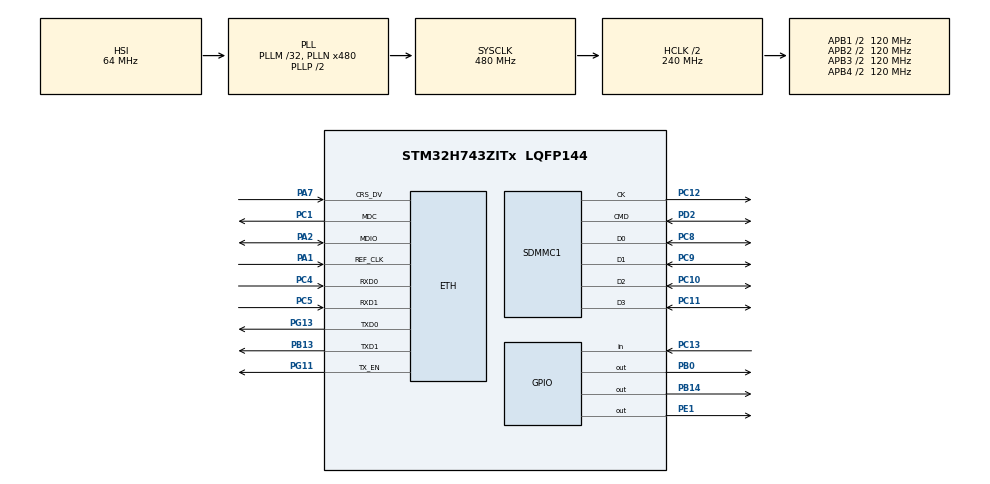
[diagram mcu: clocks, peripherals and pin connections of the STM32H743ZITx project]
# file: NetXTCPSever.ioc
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CORTEX_M7.AccessPermission_S-Cortex_Memory_Protection_Unit_Region1_Settings_S=MPU_REGION_FULL_ACCESS
CORTEX_M7.AccessPermission_S-Cortex_Memory_Protection_Unit_Region2_Settings_S=MPU_REGION_FULL_ACCESS
CORTEX_M7.BaseAddress_S-Cortex_Memory_Protection_Unit_Region1_Settings_S=0x24030000
CORTEX_M7.BaseAddress_S-Cortex_Memory_Protection_Unit_Region2_Settings_S=0x24030000
CORTEX_M7.CPU_DCache=Enabled
CORTEX_M7.CPU_ICache=Enabled
CORTEX_M7.Enable_S-Cortex_Memory_Protection_Unit_Region1_Settings_S=MPU_REGION_ENABLE
CORTEX_M7.Enable_S-Cortex_Memory_Protection_Unit_Region2_Settings_S=MPU_REGION_ENABLE
CORTEX_M7.IsBufferable_S-Cortex_Memory_Protection_Unit_Region2_Settings_S=MPU_ACCESS_BUFFERABLE
CORTEX_M7.IsCacheable_S-Cortex_Memory_Protection_Unit_Region1_Settings_S=MPU_ACCESS_CACHEABLE
CORTEX_M7.Size_S-Cortex_Memory_Protection_Unit_Region1_Settings_S=MPU_REGION_SIZE_128KB
CORTEX_M7.Size_S-Cortex_Memory_Protection_Unit_Region2_Settings_S=MPU_REGION_SIZE_256B
CORTEX_M7.default_mode_Activation=1
ETH.MediaInterface=HAL_ETH_RMII_MODE
ETH.RxBufferAddress=0x24030100
ETH.RxDescAddress=0x24030000
ETH.TxDescAddress=0x24030060
Mcu.Family=STM32H7
Mcu.Name=STM32H743ZITx
Mcu.Package=LQFP144
NUCLEO-H743ZI2.BUTTON=1
NUCLEO-H743ZI2.Bsp_Common_DEMO=true
NUCLEO-H743ZI2.LD1=true
NUCLEO-H743ZI2.LD2=true
NUCLEO-H743ZI2.LD3=true
NUCLEO-H743ZI2.VCP=true
NVIC.ETH_IRQn=true\:0\:0\:false\:false\:true\:false\:true\:true\:true
NVIC.ETH_WKUP_IRQn=true\:0\:0\:false\:false\:true\:false\:true\:true\:true
NVIC.EXTI15_10_IRQn=true\:0\:0\:false\:false\:true\:false\:false\:false\:true
NVIC.PriorityGroup=NVIC_PRIORITYGROUP_4
NVIC.SDMMC1_IRQn=true\:0\:0\:false\:false\:true\:false\:false\:true\:true
NVIC.TIM7_IRQn=true\:15\:0\:false\:false\:true\:false\:false\:true\:true
NVIC.TimeBase=TIM7_IRQn
NVIC.TimeBaseIP=TIM7
PA1.GPIO_Speed=GPIO_SPEED_FREQ_VERY_HIGH
PA1.Mode=RMII
PA1.Signal=ETH_REF_CLK
PA13\ (JTMS/SWDIO).GPIO_Label=JTMS
PA13\ (JTMS/SWDIO).Signal=DEBUG_JTMS-SWDIO
PA14\ (JTCK/SWCLK).GPIO_Label=JTCK
PA14\ (JTCK/SWCLK).Signal=DEBUG_JTCK-SWCLK
PA2.GPIO_Speed=GPIO_SPEED_FREQ_VERY_HIGH
PA2.Mode=RMII
PA2.Signal=ETH_MDIO
PA7.GPIO_Speed=GPIO_SPEED_FREQ_VERY_HIGH
PA7.Mode=RMII
PA7.Signal=ETH_CRS_DV
PB0.Signal=GPIO_Output
PB13.GPIO_Speed=GPIO_SPEED_FREQ_VERY_HIGH
PB13.Mode=RMII
PB13.Signal=ETH_TXD1
PB14.Signal=GPIO_Output
PC1.GPIO_Speed=GPIO_SPEED_FREQ_VERY_HIGH
PC1.Mode=RMII
PC1.Signal=ETH_MDC
PC10.Mode=SD_4_bits_Wide_bus
PC10.Signal=SDMMC1_D2
PC11.Mode=SD_4_bits_Wide_bus
PC11.Signal=SDMMC1_D3
PC12.Mode=SD_4_bits_Wide_bus
PC12.Signal=SDMMC1_CK
PC13.Signal=GPIO_Input
PC14-OSC32_IN\ (OSC32_IN).Signal=RCC_OSC32_IN
PC15-OSC32_OUT\ (OSC32_OUT).Signal=RCC_OSC32_OUT
PC4.GPIO_Speed=GPIO_SPEED_FREQ_VERY_HIGH
PC4.Mode=RMII
PC4.Signal=ETH_RXD0
PC5.GPIO_Speed=GPIO_SPEED_FREQ_VERY_HIGH
PC5.Mode=RMII
PC5.Signal=ETH_RXD1
PC8.Mode=SD_4_bits_Wide_bus
PC8.Signal=SDMMC1_D0
PC9.Mode=SD_4_bits_Wide_bus
PC9.Signal=SDMMC1_D1
PD2.Mode=SD_4_bits_Wide_bus
PD2.Signal=SDMMC1_CMD
PD8.Signal=USART3_TX
PD9.Signal=USART3_RX
PE1.Signal=GPIO_Output
PG11.GPIO_Speed=GPIO_SPEED_FREQ_VERY_HIGH
PG11.Mode=RMII
PG11.Signal=ETH_TX_EN
PG13.GPIO_Speed=GPIO_SPEED_FREQ_VERY_HIGH
PG13.Mode=RMII
PG13.Signal=ETH_TXD0
PH0-OSC_IN\ (PH0).Signal=RCC_OSC_IN
PH1-OSC_OUT\ (PH1).Signal=RCC_OSC_OUT
ProjectManager.HeapSize=0x200
ProjectManager.StackSize=0x400
ProjectManager.TargetToolchain=STM32CubeIDE
RCC.ADCFreq_Value=480000000
RCC.APB1Freq_Value=120000000
RCC.APB2Freq_Value=120000000
RCC.APB3Freq_Value=120000000
RCC.APB4Freq_Value=120000000
RCC.CortexFreq_Value=480000000
RCC.D1PPRE=RCC_APB3_DIV2
RCC.D2PPRE1=RCC_APB1_DIV2
RCC.D2PPRE2=RCC_APB2_DIV2
RCC.D3PPRE=RCC_APB4_DIV2
RCC.DIVN1=480
RCC.DIVN2=480
RCC.DIVR2=20
RCC.HCLKFreq_Value=240000000
RCC.HPRE=RCC_HCLK_DIV2
RCC.SDMMC1CLockSelection=RCC_SDMMCCLKSOURCE_PLL2
RCC.SYSCLKFreq_VALUE=480000000
RCC.SYSCLKSource=RCC_SYSCLKSOURCE_PLLCLK
RCC.USBFreq_Value=480000000
SDMMC1.ClockDiv=2
STMicroelectronics.X-CUBE-AZRTOS-H7.3.4.0.AZRTOS_APP_MEM_ALLOCATION_METHOD=1
STMicroelectronics.X-CUBE-AZRTOS-H7.3.4.0.ENABLE_CACHE_MAINTENANCE=true
STMicroelectronics.X-CUBE-AZRTOS-H7.3.4.0.FX_APP_MEM_POOL_SIZE=(10*1024)
STMicroelectronics.X-CUBE-AZRTOS-H7.3.4.0.FX_DRIVER_SD_INIT=1
STMicroelectronics.X-CUBE-AZRTOS-H7.3.4.0.FileXCcFileOoSystemJjFileXJjCore=true
STMicroelectronics.X-CUBE-AZRTOS-H7.3.4.0.Initialize_DHCP_protocol=true
STMicroelectronics.X-CUBE-AZRTOS-H7.3.4.0.InterfacesCcFileOoSystemJjFileXOoSDOointerface=true
STMicroelectronics.X-CUBE-AZRTOS-H7.3.4.0.InterfacesCcNetworkJjEthernetOoInterface=true
STMicroelectronics.X-CUBE-AZRTOS-H7.3.4.0.InterfacesCcNetworkJjEthernetOoPhyOoInterface=LAN8742IiPhyIiInterface
STMicroelectronics.X-CUBE-AZRTOS-H7.3.4.0.LevelXCcFileOoSystemJjLevelXJjNANDOoFlashOoSupport=true
STMicroelectronics.X-CUBE-AZRTOS-H7.3.4.0.LevelXCcFileOoSystemJjLevelXJjNOROoFlashOoSupport=true
STMicroelectronics.X-CUBE-AZRTOS-H7.3.4.0.NX_APP_MEM_POOL_SIZE=(100*1024)
STMicroelectronics.X-CUBE-AZRTOS-H7.3.4.0.NetXDuoCcNetworkJjNetXDuoJjAddonsOoDHCPOoClient=true
STMicroelectronics.X-CUBE-AZRTOS-H7.3.4.0.NetXDuoCcNetworkJjNetXDuoJjAddonsOoFTPOoServer=true
STMicroelectronics.X-CUBE-AZRTOS-H7.3.4.0.NetXDuoCcNetworkJjNetXDuoJjAddonsOoWebOoServer=true
STMicroelectronics.X-CUBE-AZRTOS-H7.3.4.0.NetXDuoCcNetworkJjNetXDuoJjNXOoCore=true
STMicroelectronics.X-CUBE-AZRTOS-H7.3.4.0.STM32CubeIiBSPIiComponentsCcBoardOoPartJjETHPhyJjLAN8742=true
STMicroelectronics.X-CUBE-AZRTOS-H7.3.4.0.TX_APP_GENERATE_INIT_CODE=true
STMicroelectronics.X-CUBE-AZRTOS-H7.3.4.0.ThreadXCcRTOSJjThreadXJjCore=true
STMicroelectronics.X-CUBE-AZRTOS-H7.3.4.0.ThreadXCcRTOSJjThreadXJjPerformanceInfo=true
STMicroelectronics.X-CUBE-AZRTOS-H7.3.4.0_IsAnAzureRtosMw=true
VP_MEMORYMAP_VS_MEMORYMAP.Mode=CurAppReg
VP_NUCLEO-H743ZI2_VS_BSP_COMMON.Mode=COMMON
VP_STMicroelectronics.X-CUBE-AZRTOS-H7_VS_BoardOoPartJjSTM32CubeIiBSPIiComponents_3.4.0_3.4.0.Mode=BoardOoPartJjSTM32CubeIiBSPIiComponents
VP_STMicroelectronics.X-CUBE-AZRTOS-H7_VS_FileOoSystemJjFileX_6.4.0_3.4.0.Mode=FileOoSystemJjFileX
VP_STMicroelectronics.X-CUBE-AZRTOS-H7_VS_FileOoSystemJjInterfaces_3.4.0_3.4.0.Mode=FileOoSystemJjInterfaces
VP_STMicroelectronics.X-CUBE-AZRTOS-H7_VS_FileOoSystemJjLevelX_6.4.0_3.4.0.Mode=FileOoSystemJjLevelX
VP_STMicroelectronics.X-CUBE-AZRTOS-H7_VS_NetworkJjInterfaces_3.4.0_3.4.0.Mode=NetworkJjInterfaces
VP_STMicroelectronics.X-CUBE-AZRTOS-H7_VS_NetworkJjNetXDuo_6.4.0_3.4.0.Mode=NetworkJjNetXDuo
VP_STMicroelectronics.X-CUBE-AZRTOS-H7_VS_RTOSJjThreadX_6.4.0_3.4.0.Mode=RTOSJjThreadX
VP_SYS_VS_tim7.Mode=TIM7
board=NUCLEO-H743ZI2

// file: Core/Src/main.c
/* USER CODE BEGIN Header */
/**
  ******************************************************************************
  * @file           : main.c
  * @brief          : Main program body
  ******************************************************************************
  * @attention
  *
  * Copyright (c) 2025 STMicroelectronics.
  * All rights reserved.
  *
  * This software is licensed under terms that can be found in the LICENSE file
  * in the root directory of this software component.
  * If no LICENSE file comes with this software, it is provided AS-IS.
  *
  ******************************************************************************
  */
/* USER CODE END Header */
#include "app_threadx.h"
#include "main.h"
#include "string.h"

#if defined ( __ICCARM__ ) /*!< IAR Compiler */
#pragma location=0x24030000
ETH_DMADescTypeDef  DMARxDscrTab[ETH_RX_DESC_CNT]; /* Ethernet Rx DMA Descriptors */
#pragma location=0x24030060
ETH_DMADescTypeDef  DMATxDscrTab[ETH_TX_DESC_CNT]; /* Ethernet Tx DMA Descriptors */

#elif defined ( __CC_ARM )  /* MDK ARM Compiler */

__attribute__((at(0x24030000))) ETH_DMADescTypeDef  DMARxDscrTab[ETH_RX_DESC_CNT]; /* Ethernet Rx DMA Descriptors */
__attribute__((at(0x24030060))) ETH_DMADescTypeDef  DMATxDscrTab[ETH_TX_DESC_CNT]; /* Ethernet Tx DMA Descriptors */

#elif defined ( __GNUC__ ) /* GNU Compiler */

ETH_DMADescTypeDef DMARxDscrTab[ETH_RX_DESC_CNT] __attribute__((section(".RxDescripSection"))); /* Ethernet Rx DMA Descriptors */
ETH_DMADescTypeDef DMATxDscrTab[ETH_TX_DESC_CNT] __attribute__((section(".TxDescripSection")));   /* Ethernet Tx DMA Descriptors */
#endif

ETH_TxPacketConfig TxConfig;

COM_InitTypeDef BspCOMInit;
__IO uint32_t BspButtonState = BUTTON_RELEASED;

ETH_HandleTypeDef heth;

SD_HandleTypeDef hsd1;

void SystemClock_Config(void);
static void MPU_Config(void);
static void MX_GPIO_Init(void);
static void MX_ETH_Init(void);
/* USER CODE BEGIN PFP */
UART_HandleTypeDef huart3;
/* USER CODE END PFP */

/* USER CODE BEGIN 0 */
void UART3_Init(void)
{
  __HAL_RCC_USART3_CLK_ENABLE();
  __HAL_RCC_GPIOD_CLK_ENABLE();

  GPIO_InitTypeDef GPIO_InitStruct = {0};
  GPIO_InitStruct.Pin = GPIO_PIN_8 | GPIO_PIN_9;
  GPIO_InitStruct.Mode = GPIO_MODE_AF_PP;
  GPIO_InitStruct.Pull = GPIO_PULLUP;
  GPIO_InitStruct.Speed = GPIO_SPEED_FREQ_VERY_HIGH;
  GPIO_InitStruct.Alternate = GPIO_AF7_USART3;
  HAL_GPIO_Init(GPIOD, &GPIO_InitStruct);

  huart3.Instance = USART3;
  huart3.Init.BaudRate = 115200;
  huart3.Init.WordLength = UART_WORDLENGTH_8B;
  huart3.Init.StopBits = UART_STOPBITS_1;
  huart3.Init.Parity = UART_PARITY_NONE;
  huart3.Init.Mode = UART_MODE_TX_RX;
  huart3.Init.HwFlowCtl = UART_HWCONTROL_NONE;
  huart3.Init.OverSampling = UART_OVERSAMPLING_16;
  HAL_UART_Init(&huart3);
}
/* USER CODE END 0 */

int main(void)
{

  /* MPU Configuration--------------------------------------------------------*/
  MPU_Config();

  /* Enable the CPU Cache */

  /* Enable I-Cache---------------------------------------------------------*/
  SCB_EnableICache();

  /* Enable D-Cache---------------------------------------------------------*/
  SCB_EnableDCache();

  /* MCU Configuration--------------------------------------------------------*/

  /* Reset of all peripherals, Initializes the Flash interface and the Systick. */
  HAL_Init();

  /* Configure the system clock */
  SystemClock_Config();

  /* Initialize all configured peripherals */
  MX_GPIO_Init();
  MX_SDMMC1_SD_Init();
  MX_ETH_Init();
  /* USER CODE BEGIN 2 */
//  UART3_Init();
//  HAL_UART_Transmit(&huart3, (uint8_t *)"Raw test\r\n", 10, HAL_MAX_DELAY);
  /* USER CODE END 2 */

  /* Initialize leds */
  BSP_LED_Init(LED_GREEN);
  BSP_LED_Init(LED_YELLOW);
  BSP_LED_Init(LED_RED);

  /* Initialize USER push-button, will be used to trigger an interrupt each time it's pressed.*/
  BSP_PB_Init(BUTTON_USER, BUTTON_MODE_EXTI);

  /* Initialize COM1 port (115200, 8 bits (7-bit data + 1 stop bit), no parity */
  BspCOMInit.BaudRate   = 115200;
  BspCOMInit.WordLength = COM_WORDLENGTH_8B;
  BspCOMInit.StopBits   = COM_STOPBITS_1;
  BspCOMInit.Parity     = COM_PARITY_NONE;
  BspCOMInit.HwFlowCtl  = COM_HWCONTROL_NONE;
  if (BSP_COM_Init(COM1, &BspCOMInit) != BSP_ERROR_NONE)
  {
    Error_Handler();
  }

  MX_ThreadX_Init();

  /* USER CODE BEGIN BSP */
//   HAL_UART_Transmit(&hcom_uart[COM1], (uint8_t *)"Direct TX test\r\n", 16, HAL_MAX_DELAY);

  /* -- Sample board code to switch on leds ---- */
  BSP_LED_On(LED_GREEN);
  BSP_LED_On(LED_YELLOW);
  BSP_LED_On(LED_RED);

  /* USER CODE END BSP */

  /* We should never get here as control is now taken by the scheduler */

  /* Infinite loop */
  /* USER CODE BEGIN WHILE */
  while (1)
  {

    /* -- Sample board code for User push-button in interrupt mode ---- */
    if (BspButtonState == BUTTON_PRESSED)
    {
      /* Update button state */
      BspButtonState = BUTTON_RELEASED;
      /* -- Sample board code to toggle leds ---- */
      BSP_LED_Toggle(LED_GREEN);
      BSP_LED_Toggle(LED_YELLOW);
      BSP_LED_Toggle(LED_RED);

      /* ..... Perform your action ..... */
    }
    /* USER CODE END WHILE */

  }
}

void SystemClock_Config(void)
{
  RCC_OscInitTypeDef RCC_OscInitStruct = {0};
  RCC_ClkInitTypeDef RCC_ClkInitStruct = {0};

  /** Supply configuration update enable
  */
  HAL_PWREx_ConfigSupply(PWR_LDO_SUPPLY);

  /** Configure the main internal regulator output voltage
  */
  __HAL_PWR_VOLTAGESCALING_CONFIG(PWR_REGULATOR_VOLTAGE_SCALE0);

  while(!__HAL_PWR_GET_FLAG(PWR_FLAG_VOSRDY)) {}

  /** Initializes the RCC Oscillators according to the specified parameters
  * in the RCC_OscInitTypeDef structure.
  */
  RCC_OscInitStruct.OscillatorType = RCC_OSCILLATORTYPE_HSI;
  RCC_OscInitStruct.HSIState = RCC_HSI_DIV1;
  RCC_OscInitStruct.HSICalibrationValue = RCC_HSICALIBRATION_DEFAULT;
  RCC_OscInitStruct.PLL.PLLState = RCC_PLL_ON;
  RCC_OscInitStruct.PLL.PLLSource = RCC_PLLSOURCE_HSI;
  RCC_OscInitStruct.PLL.PLLM = 32;
  RCC_OscInitStruct.PLL.PLLN = 480;
  RCC_OscInitStruct.PLL.PLLP = 2;
  RCC_OscInitStruct.PLL.PLLQ = 2;
  RCC_OscInitStruct.PLL.PLLR = 2;
  RCC_OscInitStruct.PLL.PLLRGE = RCC_PLL1VCIRANGE_1;
  RCC_OscInitStruct.PLL.PLLVCOSEL = RCC_PLL1VCOWIDE;
  RCC_OscInitStruct.PLL.PLLFRACN = 0;
  if (HAL_RCC_OscConfig(&RCC_OscInitStruct) != HAL_OK)
  {
    Error_Handler();
  }

  /** Initializes the CPU, AHB and APB buses clocks
  */
  RCC_ClkInitStruct.ClockType = RCC_CLOCKTYPE_HCLK|RCC_CLOCKTYPE_SYSCLK
                              |RCC_CLOCKTYPE_PCLK1|RCC_CLOCKTYPE_PCLK2
                              |RCC_CLOCKTYPE_D3PCLK1|RCC_CLOCKTYPE_D1PCLK1;
  RCC_ClkInitStruct.SYSCLKSource = RCC_SYSCLKSOURCE_PLLCLK;
  RCC_ClkInitStruct.SYSCLKDivider = RCC_SYSCLK_DIV1;
  RCC_ClkInitStruct.AHBCLKDivider = RCC_HCLK_DIV2;
  RCC_ClkInitStruct.APB3CLKDivider = RCC_APB3_DIV2;
  RCC_ClkInitStruct.APB1CLKDivider = RCC_APB1_DIV2;
  RCC_ClkInitStruct.APB2CLKDivider = RCC_APB2_DIV2;
  RCC_ClkInitStruct.APB4CLKDivider = RCC_APB4_DIV2;

  if (HAL_RCC_ClockConfig(&RCC_ClkInitStruct, FLASH_LATENCY_4) != HAL_OK)
  {
    Error_Handler();
  }
}

static void MX_ETH_Init(void)
{

   static uint8_t MACAddr[6];

  heth.Instance = ETH;
  MACAddr[0] = 0x00;
  MACAddr[1] = 0x80;
  MACAddr[2] = 0xE1;
  MACAddr[3] = 0x00;
  MACAddr[4] = 0x00;
  MACAddr[5] = 0x00;
  heth.Init.MACAddr = &MACAddr[0];
  heth.Init.MediaInterface = HAL_ETH_RMII_MODE;
  heth.Init.TxDesc = DMATxDscrTab;
  heth.Init.RxDesc = DMARxDscrTab;
  heth.Init.RxBuffLen = 1536;

  if (HAL_ETH_Init(&heth) != HAL_OK)
  {
    Error_Handler();
  }

  memset(&TxConfig, 0 , sizeof(ETH_TxPacketConfig));
  TxConfig.Attributes = ETH_TX_PACKETS_FEATURES_CSUM | ETH_TX_PACKETS_FEATURES_CRCPAD;
  TxConfig.ChecksumCtrl = ETH_CHECKSUM_IPHDR_PAYLOAD_INSERT_PHDR_CALC;
  TxConfig.CRCPadCtrl = ETH_CRC_PAD_INSERT;

}

void MX_SDMMC1_SD_Init(void)
{

  hsd1.Instance = SDMMC1;
  hsd1.Init.ClockEdge = SDMMC_CLOCK_EDGE_RISING;
  hsd1.Init.ClockPowerSave = SDMMC_CLOCK_POWER_SAVE_DISABLE;
  hsd1.Init.BusWide = SDMMC_BUS_WIDE_1B;
  hsd1.Init.HardwareFlowControl = SDMMC_HARDWARE_FLOW_CONTROL_DISABLE;
  hsd1.Init.ClockDiv = 2;
  if (HAL_SD_Init(&hsd1) != HAL_OK)
  {
    Error_Handler();
  }

}

static void MX_GPIO_Init(void)
{
  GPIO_InitTypeDef GPIO_InitStruct = {0};

  /* GPIO Ports Clock Enable */
  __HAL_RCC_GPIOC_CLK_ENABLE();
  __HAL_RCC_GPIOH_CLK_ENABLE();
  __HAL_RCC_GPIOA_CLK_ENABLE();
  __HAL_RCC_GPIOB_CLK_ENABLE();
  __HAL_RCC_GPIOD_CLK_ENABLE();
  __HAL_RCC_GPIOG_CLK_ENABLE();
  __HAL_RCC_GPIOE_CLK_ENABLE();

  /*Configure GPIO pin Output Level */
  HAL_GPIO_WritePin(GPIOB, GPIO_PIN_0|GPIO_PIN_14, GPIO_PIN_RESET);

  /*Configure GPIO pin Output Level */
  HAL_GPIO_WritePin(GPIOE, GPIO_PIN_1, GPIO_PIN_RESET);

  /*Configure GPIO pin : PC13 */
  GPIO_InitStruct.Pin = GPIO_PIN_13;
  GPIO_InitStruct.Mode = GPIO_MODE_INPUT;
  GPIO_InitStruct.Pull = GPIO_NOPULL;
  HAL_GPIO_Init(GPIOC, &GPIO_InitStruct);

  /*Configure GPIO pins : PB0 PB14 */
  GPIO_InitStruct.Pin = GPIO_PIN_0|GPIO_PIN_14;
  GPIO_InitStruct.Mode = GPIO_MODE_OUTPUT_PP;
  GPIO_InitStruct.Pull = GPIO_NOPULL;
  GPIO_InitStruct.Speed = GPIO_SPEED_FREQ_LOW;
  HAL_GPIO_Init(GPIOB, &GPIO_InitStruct);

  /*Configure GPIO pins : PD8 PD9 */
  GPIO_InitStruct.Pin = GPIO_PIN_8|GPIO_PIN_9;
  GPIO_InitStruct.Mode = GPIO_MODE_AF_PP;
  GPIO_InitStruct.Pull = GPIO_NOPULL;
  GPIO_InitStruct.Speed = GPIO_SPEED_FREQ_LOW;
  GPIO_InitStruct.Alternate = GPIO_AF7_USART3;
  HAL_GPIO_Init(GPIOD, &GPIO_InitStruct);

  /*Configure GPIO pin : PE1 */
  GPIO_InitStruct.Pin = GPIO_PIN_1;
  GPIO_InitStruct.Mode = GPIO_MODE_OUTPUT_PP;
  GPIO_InitStruct.Pull = GPIO_NOPULL;
  GPIO_InitStruct.Speed = GPIO_SPEED_FREQ_LOW;
  HAL_GPIO_Init(GPIOE, &GPIO_InitStruct);

}

 /* MPU Configuration */

void MPU_Config(void)
{
  MPU_Region_InitTypeDef MPU_InitStruct = {0};

  /* Disables the MPU */
  HAL_MPU_Disable();

  /** Initializes and configures the Region and the memory to be protected
  */
  MPU_InitStruct.Enable = MPU_REGION_ENABLE;
  MPU_InitStruct.Number = MPU_REGION_NUMBER0;
  MPU_InitStruct.BaseAddress = 0x0;
  MPU_InitStruct.Size = MPU_REGION_SIZE_4GB;
  MPU_InitStruct.SubRegionDisable = 0x87;
  MPU_InitStruct.TypeExtField = MPU_TEX_LEVEL0;
  MPU_InitStruct.AccessPermission = MPU_REGION_NO_ACCESS;
  MPU_InitStruct.DisableExec = MPU_INSTRUCTION_ACCESS_DISABLE;
  MPU_InitStruct.IsShareable = MPU_ACCESS_SHAREABLE;
  MPU_InitStruct.IsCacheable = MPU_ACCESS_NOT_CACHEABLE;
  MPU_InitStruct.IsBufferable = MPU_ACCESS_NOT_BUFFERABLE;

  HAL_MPU_ConfigRegion(&MPU_InitStruct);

  /** Initializes and configures the Region and the memory to be protected
  */
  MPU_InitStruct.Number = MPU_REGION_NUMBER1;
  MPU_InitStruct.BaseAddress = 0x24030000;
  MPU_InitStruct.Size = MPU_REGION_SIZE_128KB;
  MPU_InitStruct.SubRegionDisable = 0x0;
  MPU_InitStruct.AccessPermission = MPU_REGION_FULL_ACCESS;
  MPU_InitStruct.DisableExec = MPU_INSTRUCTION_ACCESS_ENABLE;
  MPU_InitStruct.IsShareable = MPU_ACCESS_NOT_SHAREABLE;
  MPU_InitStruct.IsCacheable = MPU_ACCESS_CACHEABLE;

  HAL_MPU_ConfigRegion(&MPU_InitStruct);

  /** Initializes and configures the Region and the memory to be protected
  */
  MPU_InitStruct.Number = MPU_REGION_NUMBER2;
  MPU_InitStruct.Size = MPU_REGION_SIZE_256B;
  MPU_InitStruct.IsCacheable = MPU_ACCESS_NOT_CACHEABLE;
  MPU_InitStruct.IsBufferable = MPU_ACCESS_BUFFERABLE;

  HAL_MPU_ConfigRegion(&MPU_InitStruct);
  /* Enables the MPU */
  HAL_MPU_Enable(MPU_PRIVILEGED_DEFAULT);

}

void HAL_TIM_PeriodElapsedCallback(TIM_HandleTypeDef *htim)
{
  if (htim->Instance == TIM7)
  {
    HAL_IncTick();
  }
}

/**
  * @brief BSP Push Button callback
  * @param Button Specifies the pressed button
  * @retval None
  */
void BSP_PB_Callback(Button_TypeDef Button)
{
  if (Button == BUTTON_USER)
  {
    BspButtonState = BUTTON_PRESSED;
  }
}

void Error_Handler(void)
{
  __disable_irq();
  while (1)
  {
  }
}
